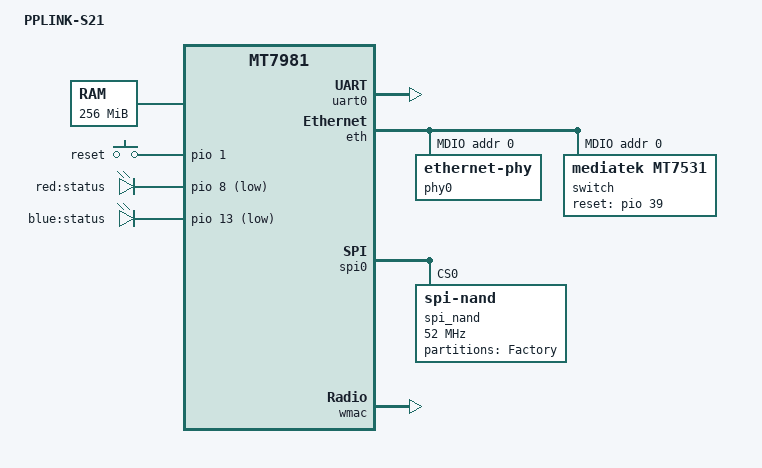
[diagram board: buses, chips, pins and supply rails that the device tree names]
/dts-v1/;

#include "mt7981.dtsi"

/ {
	model = "PPLINK-S21";
	compatible = "mediatek,mt7981-rfb";

	chosen {
		stdout-path = "serial0:115200n8";
	};

	memory@40000000 {
		reg = <0x40000000 0x10000000>;
	};

	gpio-keys {
		compatible = "gpio-keys";

		reset {
			label = "reset";
			gpios = <&pio 1 GPIO_ACTIVE_HIGH>;
			linux,code = <KEY_RESTART>;
		};
	};

	gpio-leds {
		compatible = "gpio-leds";

		led_status_red: status_red {
			label = "red:status";
			gpios = <&pio 8 GPIO_ACTIVE_LOW>;
		};

		led_status_blue: status_blue {
			label = "blue:status";
			gpios = <&pio 13 GPIO_ACTIVE_LOW>;
		};
	};
};

&uart0 {
	status = "okay";
};

&eth {
	status = "okay";

	gmac0: mac@0 {
		compatible = "mediatek,eth-mac";
		reg = <0>;
		phy-mode = "2500base-x";
	};

	gmac1: mac@1 {
		compatible = "mediatek,eth-mac";
		reg = <1>;
		phy-mode = "gmii";
		phy-handle = <&phy0>;
	};

	mdio: mdio-bus {
		#address-cells = <1>;
		#size-cells = <0>;

		phy0: ethernet-phy@0 {
			reg = <0>;
		};

		switch: switch@0 {
			compatible = "mediatek,mt7531";
			reg = <0>;
			reset-gpios = <&pio 39 GPIO_ACTIVE_HIGH>;
		};
	};
};

&spi0 {
	status = "okay";

	spi_nand@0 {
		compatible = "spi-nand";
		reg = <0>;
		spi-max-frequency = <52000000>;

		partitions {
			compatible = "fixed-partitions";
			#address-cells = <1>;
			#size-cells = <1>;

			factory: partition@180000 {
				label = "Factory";
				reg = <0x180000 0x200000>;
				read-only;
			};
		};
	};
};

&wmac {
	status = "okay";
	mediatek,mtd-eeprom = <&factory 0x0>;
};
